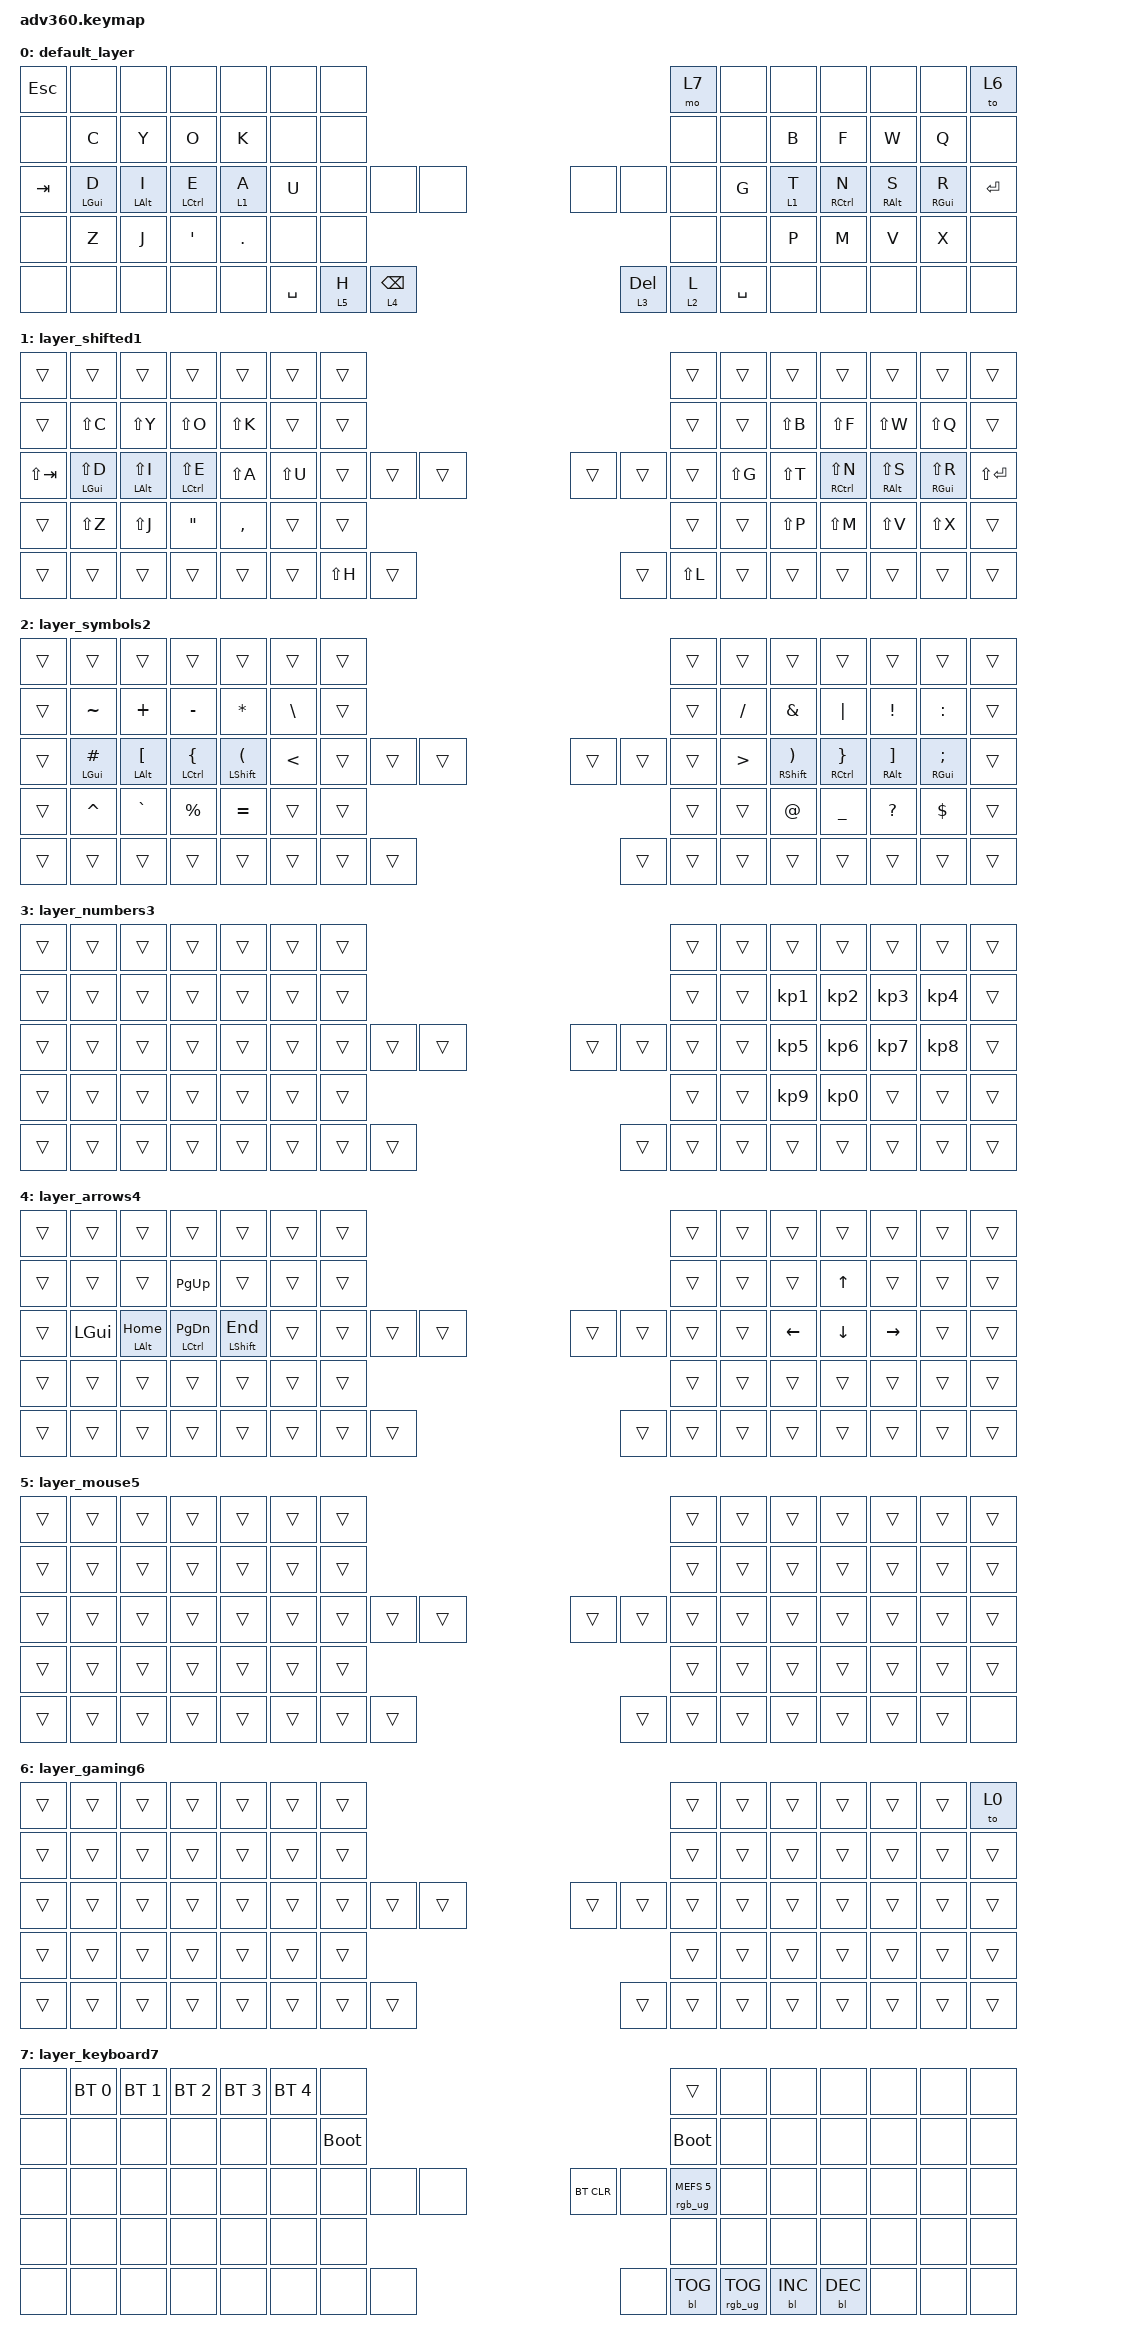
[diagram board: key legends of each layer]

/*
 * Copyright (c) 2020 The ZMK Contributors
 *
 * SPDX-License-Identifier: MIT
 */


/* THIS FILE WAS GENERATED!
 *
 * This file was generated automatically. You may or may not want to
 * edit it directly.
 */

#include <behaviors.dtsi>
#include <dt-bindings/zmk/keys.h>
#include <dt-bindings/zmk/bt.h>
#include <dt-bindings/zmk/rgb.h>
#include <dt-bindings/zmk/backlight.h>

/ {
  behaviors {
    #include "macros.dtsi"

    hm: homerow_mods {
        compatible = "zmk,behavior-hold-tap";
        label = "HOMEROW_MODS";
        #binding-cells = <2>;
        tapping-term-ms = <200>;
        quick_tap_ms = <175>;
        flavor = "tap-preferred";
        bindings = <&kp>, <&kp>;
    };
  };

    keymap {
        compatible = "zmk,keymap";


        default_layer {
            bindings = <
 &kp ESC           &none           &none        &none    &none   &none                &none                                                               &mo 7   &none    &none        &none            &none            &none      &to 6
   &none           &kp C           &kp Y        &kp O    &kp K   &none                &none                                                               &none   &none    &kp B        &kp F            &kp W            &kp Q      &none
 &kp TAB  &hm LEFT_GUI D  &hm LEFT_ALT I  &hm LCTRL E  &lt 1 A   &kp U                &none    &none       &none                      &none    &none      &none   &kp G  &lt 1 T  &hm RCTRL N  &hm RIGHT_ALT S  &hm RIGHT_GUI R  &kp ENTER
   &none           &kp Z           &kp J      &kp SQT  &kp DOT   &none                                     &none                      &none                       &none    &kp P        &kp M            &kp V            &kp X      &none
   &none           &none           &none        &none    &none                    &kp SPACE  &lt 5 H  &lt 4 BSPC                  &lt 3 DEL  &lt 2 L  &kp SPACE            &none        &none            &none            &none      &none
            >;
        };

        layer_shifted1 {
            bindings = <
 &trans                   &trans              &trans           &trans     &trans     &trans            &trans                                                        &trans     &trans     &trans           &trans          &trans               &trans  &trans
 &trans                &kp LS(C)           &kp LS(Y)        &kp LS(O)  &kp LS(K)     &trans            &trans                                                        &trans     &trans  &kp LS(B)        &kp LS(F)       &kp LS(W)            &kp LS(Q)  &trans
 &kp LS(TAB)  &hm LEFT_GUI LS(D)  &hm LEFT_ALT LS(I)  &hm LCTRL LS(E)  &kp LS(A)  &kp LS(U)            &trans     &trans  &trans                  &trans     &trans  &trans  &kp LS(G)  &kp LS(T)  &hm RCTRL LS(N)  &hm RALT LS(S)  &hm RIGHT_GUI LS(R)  &kp LS(ENTER)
 &trans                &kp LS(Z)           &kp LS(J)          &kp DQT  &kp COMMA     &trans                               &trans                  &trans                        &trans  &kp LS(P)        &kp LS(M)       &kp LS(V)            &kp LS(X)  &trans
 &trans                   &trans              &trans           &trans     &trans                       &trans  &kp LS(H)  &trans                  &trans  &kp LS(L)  &trans                &trans           &trans          &trans               &trans  &trans
            >;
        };

        layer_symbols2 {
            bindings = <
 &trans         &trans         &trans          &trans           &trans    &trans            &trans                                                  &trans    &trans           &trans          &trans         &trans         &trans  &trans
 &trans      &kp TILDE       &kp PLUS       &kp MINUS         &kp STAR  &kp BSLH            &trans                                                  &trans  &kp FSLH         &kp AMPS        &kp PIPE       &kp EXCL      &kp COLON  &trans
 &trans  &hm LGUI HASH  &hm LALT LBKT  &hm LCTRL LBRC  &hm LSHIFT LPAR    &kp LT            &trans  &trans  &trans                  &trans  &trans  &trans    &kp GT  &hm RSHIFT RPAR  &hm RCTRL RBRC  &hm RALT RBKT  &hm RGUI SEMI  &trans
 &trans      &kp CARET      &kp GRAVE       &kp PRCNT        &kp EQUAL    &trans                            &trans                  &trans                    &trans           &kp AT       &kp UNDER      &kp QMARK       &kp DLLR  &trans
 &trans         &trans         &trans          &trans           &trans                      &trans  &trans  &trans                  &trans  &trans  &trans                     &trans          &trans         &trans         &trans  &trans
            >;
        };

        layer_numbers3 {
            bindings = <
 &trans  &trans  &trans  &trans  &trans  &trans            &trans                                                  &trans  &trans     &trans     &trans     &trans     &trans  &trans
 &trans  &trans  &trans  &trans  &trans  &trans            &trans                                                  &trans  &trans  &kp KP_N1  &kp KP_N2  &kp KP_N3  &kp KP_N4  &trans
 &trans  &trans  &trans  &trans  &trans  &trans            &trans  &trans  &trans                  &trans  &trans  &trans  &trans  &kp KP_N5  &kp KP_N6  &kp KP_N7  &kp KP_N8  &trans
 &trans  &trans  &trans  &trans  &trans  &trans                            &trans                  &trans                  &trans  &kp KP_N9  &kp KP_N0     &trans     &trans  &trans
 &trans  &trans  &trans  &trans  &trans                    &trans  &trans  &trans                  &trans  &trans  &trans             &trans     &trans     &trans     &trans  &trans
            >;
        };

        layer_arrows4 {
            bindings = <
 &trans    &trans             &trans           &trans              &trans  &trans            &trans                                                  &trans  &trans    &trans    &trans     &trans  &trans  &trans
 &trans    &trans             &trans        &kp PG_UP              &trans  &trans            &trans                                                  &trans  &trans    &trans    &kp UP     &trans  &trans  &trans
 &trans  &kp LGUI  &hm LEFT_ALT HOME  &hm LCTRL PG_DN  &hm LEFT_SHIFT END  &trans            &trans  &trans  &trans                  &trans  &trans  &trans  &trans  &kp LEFT  &kp DOWN  &kp RIGHT  &trans  &trans
 &trans    &trans             &trans           &trans              &trans  &trans                            &trans                  &trans                  &trans    &trans    &trans     &trans  &trans  &trans
 &trans    &trans             &trans           &trans              &trans                    &trans  &trans  &trans                  &trans  &trans  &trans            &trans    &trans     &trans  &trans  &trans
            >;
        };

        layer_mouse5 {
            bindings = <
 &trans  &trans  &trans  &trans  &trans  &trans            &trans                                                  &trans  &trans  &trans  &trans  &trans  &trans  &trans
 &trans  &trans  &trans  &trans  &trans  &trans            &trans                                                  &trans  &trans  &trans  &trans  &trans  &trans  &trans
 &trans  &trans  &trans  &trans  &trans  &trans            &trans  &trans  &trans                  &trans  &trans  &trans  &trans  &trans  &trans  &trans  &trans  &trans
 &trans  &trans  &trans  &trans  &trans  &trans                            &trans                  &trans                  &trans  &trans  &trans  &trans  &trans  &trans
 &trans  &trans  &trans  &trans  &trans                    &trans  &trans  &trans                  &trans  &trans  &trans          &trans  &trans  &trans  &trans   &none
            >;
        };

        layer_gaming6 {
            bindings = <
 &trans  &trans  &trans  &trans  &trans  &trans            &trans                                                  &trans  &trans  &trans  &trans  &trans  &trans   &to 0
 &trans  &trans  &trans  &trans  &trans  &trans            &trans                                                  &trans  &trans  &trans  &trans  &trans  &trans  &trans
 &trans  &trans  &trans  &trans  &trans  &trans            &trans  &trans  &trans                  &trans  &trans  &trans  &trans  &trans  &trans  &trans  &trans  &trans
 &trans  &trans  &trans  &trans  &trans  &trans                            &trans                  &trans                  &trans  &trans  &trans  &trans  &trans  &trans
 &trans  &trans  &trans  &trans  &trans                    &trans  &trans  &trans                  &trans  &trans  &trans          &trans  &trans  &trans  &trans  &trans
            >;
        };

        layer_keyboard7 {
            bindings = <
  &none  &bt BT_SEL 0  &bt BT_SEL 1  &bt BT_SEL 2  &bt BT_SEL 3  &bt BT_SEL 4                  &none                                                                          &trans   &none       &none       &none   &none   &none   &none
  &none         &none         &none         &none         &none         &none            &bootloader                                                                     &bootloader   &none       &none       &none   &none   &none   &none
  &none         &none         &none         &none         &none         &none                  &none   &none   &none                  &bt BT_CLR       &none  &rgb_ug RGB_MEFS_CMD 5   &none       &none       &none   &none   &none   &none
  &none         &none         &none         &none         &none         &none                                  &none                       &none                                       &none       &none       &none   &none   &none   &none
  &none         &none         &none         &none         &none                                &none   &none   &none                       &none  &bl BL_TOG         &rgb_ug RGB_TOG          &bl BL_INC  &bl BL_DEC   &none   &none   &none
            >;
        };

    };
};
